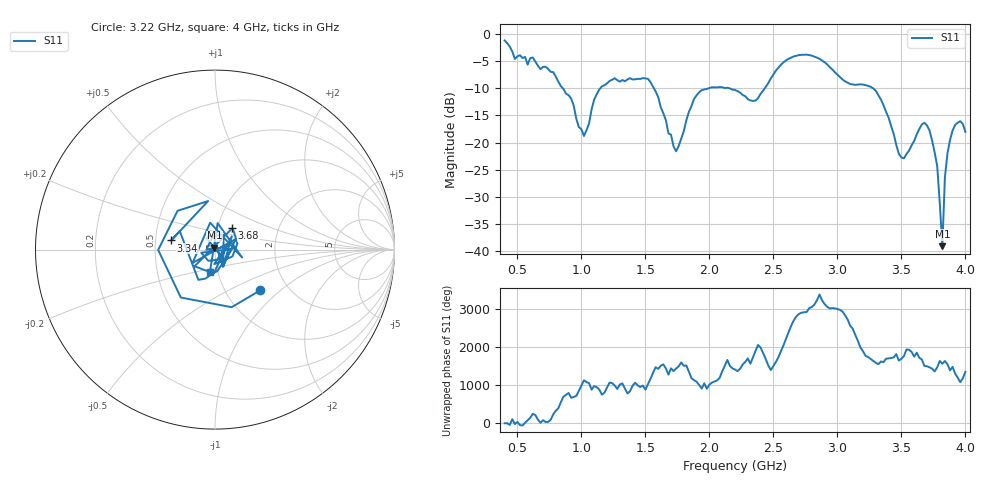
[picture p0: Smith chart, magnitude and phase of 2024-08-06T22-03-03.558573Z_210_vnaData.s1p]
!Created with skrf (http://scikit-rf.org).
# Hz S RI R 50.0
!freq ReS11 ImS11
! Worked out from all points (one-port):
!   181 points, 400 MHz to 4 GHz, reference 50 ohm
!   lowest |S11| = -39.2 dB at 3.82 GHz (marker M1), VSWR 1.02, Z = 49.6 + j1.04 ohm
!   |S11| at or under -10 dB: 855.7 MHz to 1.147 GHz (291.2 MHz wide, 29.1 % of centre); 1.567 GHz to 1.991 GHz (423.7 MHz wide, 23.8 % of centre); 3.28 GHz to end of sweep (the widest 3 of 4)
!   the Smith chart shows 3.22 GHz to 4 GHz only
!   S11 on the Smith chart (normalised r, x): 3.22 GHz: 1.45, -0.74; 3.34 GHz: 0.60, +0.07; 3.68 GHz: 1.17, +0.28; 4 GHz: 0.92, -0.23
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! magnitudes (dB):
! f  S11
! 400 MHz  -1.1
! 480 MHz  -4.5
! 620 MHz  -4.3
! 860 MHz  -10.1
! 1.02 GHz  -18.8
! 1.14 GHz  -10.2
! 1.3 GHz  -8.8
! 1.52 GHz  -8.2
! 1.72 GHz  -20.7
! 1.76 GHz  -20.7
! 1.92 GHz  -10.7
! 2.2 GHz  -10.3
! 2.36 GHz  -12.3
! 2.66 GHz  -4.1
! 2.86 GHz  -4.5
! 3.1 GHz  -9.2
! 3.22 GHz  -9.4
! 3.34 GHz  -12.0
! 3.48 GHz  -22.1
! 3.56 GHz  -21.5
! 3.68 GHz  -16.3
! 3.72 GHz  -17.8
! 3.78 GHz  -24.4
! 3.82 GHz  -39.2
! 3.84 GHz  -26.4
! 3.88 GHz  -19.5
! 3.96 GHz  -16.1
! 4 GHz  -18.0
